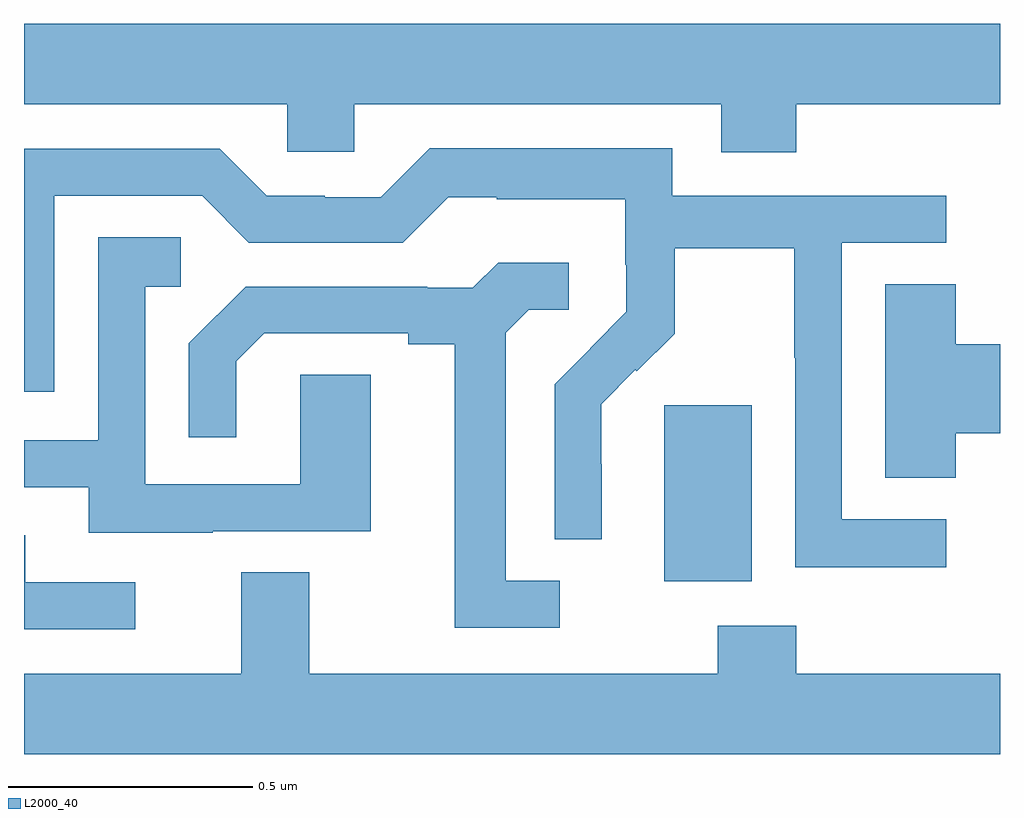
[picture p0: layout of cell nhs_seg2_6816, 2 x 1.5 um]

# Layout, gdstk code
import gdstk
lib = gdstk.Library(unit=1e-6, precision=1e-09)
def R(c, l, rs):  # rectangles x0, y0, x1, y1
    for r in rs: c.add(gdstk.rectangle(r[:2], r[2:], *l))
def P(c, l, *ps):  # polygons
    for p in ps: c.add(gdstk.Polygon(p, *l))
L2000_40 = (2000, 40)

nhs_seg2_6816 = lib.new_cell('nhs_seg2_6816')
R(nhs_seg2_6816, L2000_40, [(197.312,625.346,197.491,625.707)])
P(nhs_seg2_6816, L2000_40, [(197.582,626.324),(198,626.324),(198,626.488),(196,626.488),(196,626.324),(196.539,626.324),(196.539,626.226),(196.677,626.226),(196.677,626.324),(197.429,626.324),(197.429,626.225),(197.582,626.225)],
  [(197.89,625.473),(197.676,625.473),(197.676,626.04),(197.89,626.04),(197.89,626.136),(197.328,626.136),(197.328,626.233),(196.831,626.233),(196.731,626.133),(196.616,626.133),(196.616,626.136),(196.497,626.136),(196.401,626.232),(196,626.232),(196,625.734),(196.062,625.734),(196.062,626.136),(196.365,626.136),(196.461,626.04),(196.776,626.04),(196.869,626.133),(196.969,626.133),(196.969,626.129),(197.232,626.129),(197.232,625.995),(197.234,625.995),(197.234,625.898),(197.16,625.824),(197.161,625.823),(197.088,625.75),(197.088,625.432),(197.184,625.432),(197.184,625.586),(197.183,625.586),(197.183,625.709),(197.253,625.779),(197.256,625.776),(197.333,625.853),(197.333,626.028),(197.578,626.028),(197.578,625.804),(197.58,625.804),(197.58,625.375),(197.89,625.375)],
  [(196.387,625.449),(196.711,625.449),(196.711,625.769),(196.566,625.769),(196.566,625.545),(196.248,625.545),(196.248,625.95),(196.321,625.95),(196.321,626.051),(196.152,626.051),(196.152,625.635),(196,625.635),(196,625.539),(196.133,625.539),(196.133,625.445),(196.387,625.445)],
  [(197.098,625.347),(196.987,625.347),(196.987,625.855),(197.034,625.902),(197.116,625.902),(197.116,625.999),(196.972,625.999),(196.92,625.947),(196.826,625.947),(196.826,625.95),(196.454,625.95),(196.338,625.834),(196.338,625.641),(196.435,625.641),(196.435,625.797),(196.492,625.854),(196.787,625.854),(196.787,625.832),(196.883,625.832),(196.883,625.251),(197.098,625.251)],
  [(197.909,625.649),(198,625.649),(198,625.832),(197.909,625.832),(197.909,625.955),(197.765,625.955),(197.765,625.558),(197.909,625.558)],
  [(196.228,625.344),(196.003,625.344),(196.003,625.44),(196,625.44),(196,625.248),(196.228,625.248)],
  [(198,625.156),(197.582,625.156),(197.582,625.255),(197.422,625.255),(197.422,625.156),(196.585,625.156),(196.585,625.364),(196.445,625.364),(196.445,625.156),(196,625.156),(196,624.992),(198,624.992)])

lib.write_gds('nhs_seg2_6816.gds')
